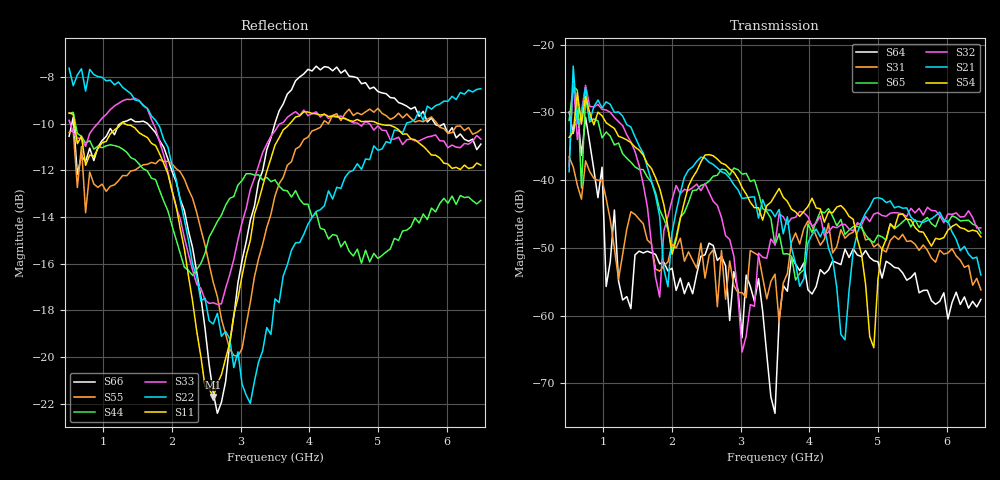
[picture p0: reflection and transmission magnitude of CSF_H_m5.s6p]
!Keysight Technologies,M9804A,MY58100912,A.14.10.03
!Date: Thursday, April 27, 2023 10:28:33
!Correction: S11(C  6-Port  )
!S12(C  6-Port  )
!S13(C  6-Port  )
!S14(C  6-Port  )
!S15(C  6-Port  )
!S16(C  6-Port  )
!S21(C  6-Port  )
!S22(C  6-Port  )
!S23(C  6-Port  )
!S24(C  6-Port  )
!S25(C  6-Port  )
!S26(C  6-Port  )
!S31(C  6-Port  )
!S32(C  6-Port  )
!S33(C  6-Port  )
!S34(C  6-Port  )
!S35(C  6-Port  )
!S36(C  6-Port  )
!S41(C  6-Port  )
!S42(C  6-Port  )
!S43(C  6-Port  )
!S44(C  6-Port  )
!S45(C  6-Port  )
!S46(C  6-Port  )
!S51(C  6-Port  )
!S52(C  6-Port  )
!S53(C  6-Port  )
!S54(C  6-Port  )
!S55(C  6-Port  )
!S56(C  6-Port  )
!S61(C  6-Port  )
!S62(C  6-Port  )
!S63(C  6-Port  )
!S64(C  6-Port  )
!S65(C  6-Port  )
!S66(C  6-Port  )
!S6P File: Measurement: :
# Hz S  RI  R 50
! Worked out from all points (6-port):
!   101 points, 500 MHz to 6.5 GHz, reference 50 ohm
!   strongest paths, dB at 500 MHz, 2 GHz, 3.5 GHz, 5 GHz, 6.5 GHz:
!     S54: -33.7, -51.0, -42.2, -54.7, -48.4
!     S21: -38.8, -47.7, -45.4, -42.6, -54.0
!     S32: -38.0, -42.9, -49.5, -44.8, -47.1
!     S65: -31.2, -50.5, -49.6, -48.1, -47.8
!     S31: -36.6, -49.5, -53.9, -49.4, -56.2
!     S64: -30.0, -53.0, -74.4, -52.1, -57.6
!   lowest |S11| = -21.7 dB at 2.6 GHz (marker M1), VSWR 1.18, Z = 42.7 + j1.98 ohm
!   |S11| at or under -10 dB: 579.5 MHz to 1.262 GHz (682.1 MHz wide, 74.1 % of centre); 1.316 GHz to 3.713 GHz (2.398 GHz wide, 95.4 % of centre); 5.016 GHz to end of sweep
